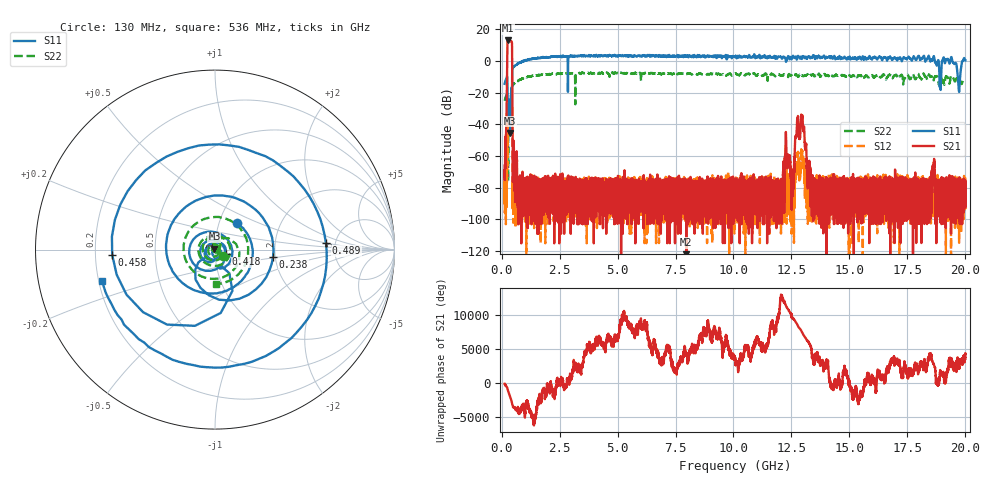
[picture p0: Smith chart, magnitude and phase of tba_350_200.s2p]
!Created with skrf (http://scikit-rf.org).
# GHz S RI R 50.0
!freq ReS11 ImS11 ReS21 ImS21 ReS12 ImS12 ReS22 ImS22
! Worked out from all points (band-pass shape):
!   20013 points, 130 MHz to 20 GHz, reference 50 ohm
!   highest |S21| = 13.03 dB at 280 MHz (marker M1); lowest = -178.5 dB at 7.965 GHz (marker M2)
!   |S21| within 3 dB of the highest: 249.6 MHz to 450.7 MHz (201.1 MHz wide, 57.4 % of centre)
!   lowest |S11| = -45.4 dB at 367 MHz (marker M3), VSWR 1.01, Z = 49.7 + j0.433 ohm
!   |S11| at or under -10 dB: start of sweep to 228.7 MHz; 243.3 MHz to 451.7 MHz (208.4 MHz wide, 60 % of centre); 19.67381 GHz to 19.77201 GHz (98.21 MHz wide, 0.498 % of centre) (the widest 3 of 5)
!   |S22| runs from -75.9 to -7.2 dB; largest |S21 - S12| = 4.5
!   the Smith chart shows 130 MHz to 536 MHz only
!   S11 on the Smith chart (normalised r, x): 130 MHz: 1.22, +0.37; 238 MHz: 1.95, -0.17; 418 MHz: 1.13, -0.06; 458 MHz: 0.27, -0.02; 489 MHz: 4.19, +0.50; 536 MHz: 0.21, -0.13
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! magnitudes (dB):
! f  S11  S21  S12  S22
! 130 MHz  -14.4  -72.3  -85.9  -25.1
! 238 MHz  -9.7  -7.3  -64.4  -20.7
! 280 MHz  -38.2  13.0  -40.8  -51.3
! 367 MHz  -45.4  12.8  -36.6  -44.0
! 418 MHz  -23.7  12.5  -34.8  -33.4
! 458 MHz  -4.8  -8.0  -54.6  -16.0
! 489 MHz  -4.2  -76.7  -86.7  -14.9
! 536 MHz  -3.7  -61.4  -86.1  -14.3
! 773 MHz  -1.0  -94.3  -74.5  -11.7
! 3.442 GHz  3.0  -78.3  -81.7  -7.9
! 6.754 GHz  3.0  -86.2  -87.7  -8.0
! 7.965 GHz  2.9  -178.5  -90.0  -8.3
! 10.06 GHz  2.5  -86.1  -82.3  -8.0
! 12.03 GHz  2.7  -85.0  -88.9  -9.3
! 12.3 GHz  0.6  -67.4  -78.7  -9.5
! 12.55 GHz  2.7  -72.7  -82.0  -9.6
! 12.73 GHz  1.0  -42.2  -63.8  -8.9
! 12.96 GHz  1.6  -35.1  -57.5  -9.1
! 13.38 GHz  2.0  -87.3  -86.5  -9.0
! 16.69 GHz  1.9  -81.3  -92.6  -8.9
! 19.72 GHz  -19.0  -80.9  -79.1  -10.8
! 20 GHz  0.4  -91.8  -87.6  -11.6
